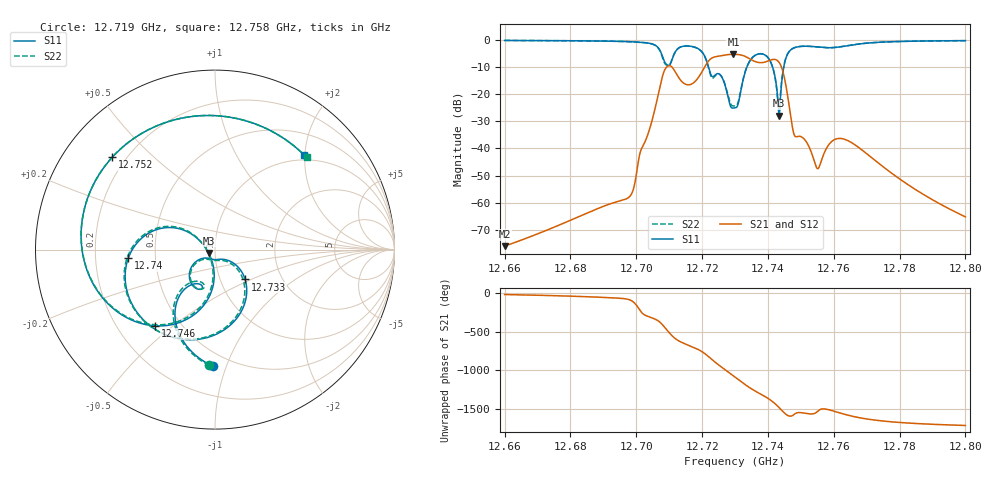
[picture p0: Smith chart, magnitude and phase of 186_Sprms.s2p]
! TOUCHSTONE file generated by CST MICROWAVE STUDIO
! Date and time: Wed Jul 31 20:18:24 2024
! Project name: WaveGuide_BPF-Ver4.1_U-shape_Ku_T3_C4_CWA_2.cst
! Parameters = {cavity_h=16; cavity_l0=10; cavity_l1=15.1884; cavity_l2=16.8043; cavity_l3=17.1067; cavity_l4=17.2819; cavity_l5=17.1251; cavity_l6=17.6344; cavity_r=2.5; cavity_screw_l=0.5; cavity_screw_r=1.5; cavity_w=8; iris_h00=0; iris_h01=8.8046; iris_h112=0; iris_h12=5.6092; iris_h211=3.6574; 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
! Header version: 2018
! Port assignment regex: !\s*Touchstone port\s*([0-9]+)\s*=\s*(CST MWS port|CST DS port)\s*([0-9]+|Zmin|Zmax)\s*\(\"(.*)\"\)(\s*mode\s*([0-9]+))?.*
! Touchstone port assignment:
! Touchstone port 1 = CST MWS port 1 ("")
! Touchstone port 2 = CST MWS port 2 ("")
# GHz S RI R 50
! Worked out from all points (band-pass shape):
!   5001 points, 12.66 GHz to 12.8 GHz, reference 50 ohm
!   highest |S21| = -5.27 dB at 12.73 GHz (marker M1); lowest = -76.1 dB at 12.66 GHz (marker M2)
!   |S21| within 3 dB of the highest: 12.72164 GHz to 12.7371 GHz (15.47 MHz wide, 0.122 % of centre); 12.73854 GHz to 12.74341 GHz (4.87 MHz wide, 0.0382 % of centre)
!   lowest |S11| = -27.9 dB at 12.743 GHz (marker M3), VSWR 1.08, Z = 46.5 - j1.74 ohm
!   |S11| at or under -10 dB: 12.72198 GHz to 12.7336 GHz (11.63 MHz wide, 0.0913 % of centre); 12.74144 GHz to 12.74481 GHz (3.373 MHz wide, 0.0265 % of centre)
!   |S22| runs from -27.5 to -0.1 dB; largest |S21 - S12| = 1e-09
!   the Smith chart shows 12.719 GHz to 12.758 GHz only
!   S11 on the Smith chart (normalised r, x): 12.719 GHz: 0.40, -0.90; 12.733 GHz: 1.31, -0.46; 12.74 GHz: 0.35, -0.04; 12.746 GHz: 0.36, -0.43; 12.752 GHz: 0.15, +0.38; 12.758 GHz: 0.89, +1.97
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12.66  0.2391 0.9542  0.000149 -4.79e-05  0.000149 -4.79e-05  0.2451 0.9527
12.68335  0.6063 0.7552  0.00042 -0.000396  0.00042 -0.000396  0.6126 0.75
12.6983  0.8861 0.2893  -4.24e-05 -0.00136  -4.24e-05 -0.00136  0.8893 0.2776
12.70668  0.6273 -0.3564  0.099 0.00113  0.099 0.00113  0.6089 -0.3697
12.71138  0.5227 0.0628  -0.2433 0.1528  -0.2433 0.1528  0.5295 0.0554
12.71947  -0.0139 -0.6484  0.2095 -0.0984  0.2095 -0.0984  -0.0324 -0.6442
12.7244  -0.0855 -0.2215  -0.4906 0.0815  -0.4906 0.0815  -0.0746 -0.2207
12.727  -0.1202 -0.081  0.0236 0.5304  0.0236 0.5304  -0.1194 -0.0898
12.72952  -0.00881 -0.0551  0.5402 0.0755  0.5402 0.0755  -0.0118 -0.0596
12.73  0.00284 -0.0562  0.5408 -0.067  0.5408 -0.067  0.000663 -0.0605
12.73291  0.1678 -0.1661  -0.0818 -0.4983  -0.0818 -0.4983  0.1601 -0.1794
12.73577  -0.0802 -0.498  -0.4098 -0.00199  -0.4098 -0.00199  -0.1014 -0.4972
12.73988  -0.4827 -0.0464  0.0689 0.4019  0.0689 0.4019  -0.4842 -0.0318
12.74341  -0.0356 -0.0187  0.2831 -0.2625  0.2831 -0.2625  -0.0336 -0.0277
12.7459  -0.3338 -0.4247  -0.0799 -0.0624  -0.0799 -0.0624  -0.3548 -0.4168
12.74803  -0.7101 -0.1236  -0.0111 -0.0136  -0.0111 -0.0136  -0.7162 -0.1027
12.75167  -0.5722 0.5147  -0.00634 -0.0116  -0.00634 -0.0116  -0.5588 0.5296
12.75335  -0.3201 0.6911  -0.0046 -0.00651  -0.0046 -0.00651  -0.3013 0.6991
12.75769  0.4941 0.5297  0.0044 -0.00877  0.0044 -0.00877  0.5104 0.5131
12.76581  0.2485 -0.7789  -0.0113 -0.00492  -0.0113 -0.00492  0.2281 -0.7868
12.77668  -0.7159 -0.5899  -0.00275 0.00268  -0.00275 0.00268  -0.7254 -0.5794
12.8  -0.9656 0.1394  4.2e-05 0.000544  4.2e-05 0.000544  -0.9645 0.148
